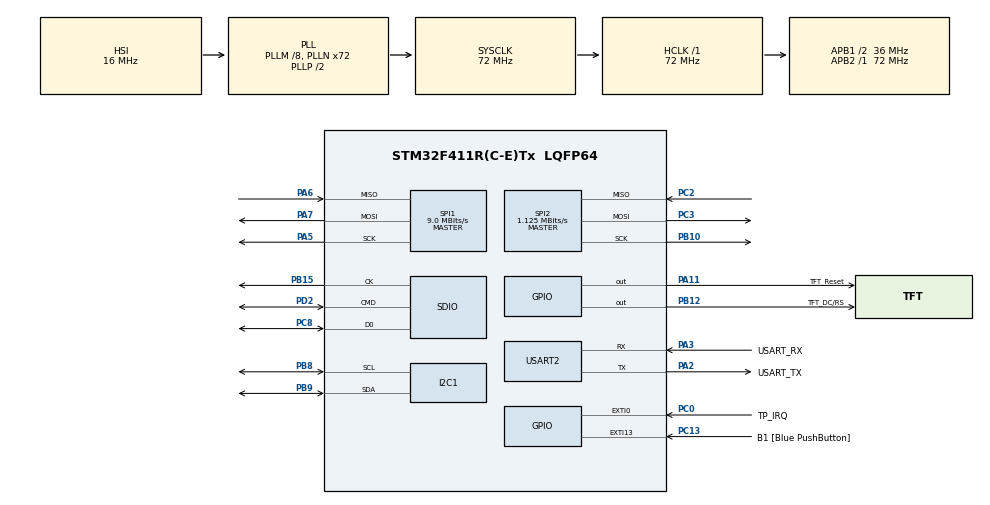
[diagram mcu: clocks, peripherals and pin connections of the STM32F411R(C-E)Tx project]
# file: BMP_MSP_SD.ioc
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Dma.Request0=SDIO_RX
Dma.Request1=SDIO_TX
Dma.SDIO_RX.0.Direction=DMA_PERIPH_TO_MEMORY
Dma.SDIO_RX.0.FIFOMode=DMA_FIFOMODE_ENABLE
Dma.SDIO_RX.0.FIFOThreshold=DMA_FIFO_THRESHOLD_FULL
Dma.SDIO_RX.0.Instance=DMA2_Stream3
Dma.SDIO_RX.0.MemBurst=DMA_MBURST_INC4
Dma.SDIO_RX.0.MemDataAlignment=DMA_MDATAALIGN_WORD
Dma.SDIO_RX.0.MemInc=DMA_MINC_ENABLE
Dma.SDIO_RX.0.Mode=DMA_PFCTRL
Dma.SDIO_RX.0.PeriphBurst=DMA_PBURST_INC4
Dma.SDIO_RX.0.PeriphDataAlignment=DMA_PDATAALIGN_WORD
Dma.SDIO_RX.0.PeriphInc=DMA_PINC_DISABLE
Dma.SDIO_RX.0.Priority=DMA_PRIORITY_HIGH
Dma.SDIO_TX.1.Direction=DMA_MEMORY_TO_PERIPH
Dma.SDIO_TX.1.FIFOMode=DMA_FIFOMODE_ENABLE
Dma.SDIO_TX.1.FIFOThreshold=DMA_FIFO_THRESHOLD_FULL
Dma.SDIO_TX.1.Instance=DMA2_Stream6
Dma.SDIO_TX.1.MemBurst=DMA_MBURST_INC4
Dma.SDIO_TX.1.MemDataAlignment=DMA_MDATAALIGN_WORD
Dma.SDIO_TX.1.MemInc=DMA_MINC_ENABLE
Dma.SDIO_TX.1.Mode=DMA_PFCTRL
Dma.SDIO_TX.1.PeriphBurst=DMA_PBURST_INC4
Dma.SDIO_TX.1.PeriphDataAlignment=DMA_PDATAALIGN_WORD
Dma.SDIO_TX.1.PeriphInc=DMA_PINC_DISABLE
Dma.SDIO_TX.1.Priority=DMA_PRIORITY_HIGH
FATFS.USE_DMA_CODE_SD=1
Mcu.Family=STM32F4
Mcu.Name=STM32F411R(C-E)Tx
Mcu.Package=LQFP64
NVIC.DMA2_Stream3_IRQn=true\:0\:0\:false\:false\:true\:false\:true\:true
NVIC.DMA2_Stream6_IRQn=true\:0\:0\:false\:false\:true\:false\:true\:true
NVIC.EXTI0_IRQn=true\:0\:0\:false\:true\:true\:1\:true\:true\:true
NVIC.PriorityGroup=NVIC_PRIORITYGROUP_0
NVIC.SDIO_IRQn=true\:0\:0\:false\:false\:true\:true\:true\:true
PA11.GPIO_Label=TFT_Reset
PA11.Signal=GPIO_Output
PA13.GPIO_Label=TMS
PA13.Mode=Serial_Wire
PA13.Signal=SYS_JTMS-SWDIO
PA14.GPIO_Label=TCK
PA14.Mode=Serial_Wire
PA14.Signal=SYS_JTCK-SWCLK
PA2.GPIO_Label=USART_TX
PA2.Mode=Asynchronous
PA2.Signal=USART2_TX
PA3.GPIO_Label=USART_RX
PA3.Mode=Asynchronous
PA3.Signal=USART2_RX
PA5.Mode=Full_Duplex_Master
PA5.Signal=SPI1_SCK
PA6.Mode=Full_Duplex_Master
PA6.Signal=SPI1_MISO
PA7.Mode=Full_Duplex_Master
PA7.Signal=SPI1_MOSI
PB10.Mode=Full_Duplex_Master
PB10.Signal=SPI2_SCK
PB12.GPIO_Label=TFT_DC/RS
PB12.Signal=GPIO_Output
PB15.Mode=SD_1_bit
PB15.Signal=SDIO_CK
PB3.GPIO_Label=SWO
PB3.Signal=SYS_JTDO-SWO
PB8.Mode=I2C
PB8.Signal=I2C1_SCL
PB9.Mode=I2C
PB9.Signal=I2C1_SDA
PC0.GPIO_Label=TP_IRQ
PC0.GPIO_ModeDefaultEXTI=GPIO_MODE_IT_FALLING
PC0.Signal=GPXTI0
PC13-ANTI_TAMP.GPIO_Label=B1 [Blue PushButton]
PC13-ANTI_TAMP.GPIO_ModeDefaultEXTI=GPIO_MODE_IT_FALLING
PC13-ANTI_TAMP.Signal=GPXTI13
PC14-OSC32_IN.Mode=LSE-External-Oscillator
PC14-OSC32_IN.Signal=RCC_OSC32_IN
PC15-OSC32_OUT.Mode=LSE-External-Oscillator
PC15-OSC32_OUT.Signal=RCC_OSC32_OUT
PC2.Mode=Full_Duplex_Master
PC2.Signal=SPI2_MISO
PC3.Mode=Full_Duplex_Master
PC3.Signal=SPI2_MOSI
PC8.Mode=SD_1_bit
PC8.Signal=SDIO_D0
PD2.Mode=SD_1_bit
PD2.Signal=SDIO_CMD
PH0\ -\ OSC_IN.Mode=HSE-External-Clock-Source
PH0\ -\ OSC_IN.Signal=RCC_OSC_IN
PH1\ -\ OSC_OUT.Mode=HSE-External-Clock-Source
PH1\ -\ OSC_OUT.Signal=RCC_OSC_OUT
ProjectManager.HeapSize=0x200
ProjectManager.StackSize=0x400
ProjectManager.TargetToolchain=STM32CubeIDE
RCC.48MHZClocksFreq_Value=48000000
RCC.AHBFreq_Value=72000000
RCC.APB1CLKDivider=RCC_HCLK_DIV2
RCC.APB1Freq_Value=36000000
RCC.APB1TimFreq_Value=72000000
RCC.APB2Freq_Value=72000000
RCC.APB2TimFreq_Value=72000000
RCC.CortexFreq_Value=72000000
RCC.FLatency-AdvancedSettings=FLASH_LATENCY_2
RCC.HCLKFreq_Value=72000000
RCC.HSE_VALUE=8000000
RCC.HSI_VALUE=16000000
RCC.PLLM=8
RCC.PLLN=72
RCC.PLLQ=3
RCC.SYSCLKFreq_VALUE=72000000
RCC.SYSCLKSource=RCC_SYSCLKSOURCE_PLLCLK
RCC.VCOOutputFreq_Value=144000000
SDIO.ClockDiv=6
SDIO.ClockPowerSave=SDIO_CLOCK_POWER_SAVE_DISABLE
SPI1.BaudRatePrescaler=SPI_BAUDRATEPRESCALER_8
SPI1.CalculateBaudRate=9.0 MBits/s
SPI1.Direction=SPI_DIRECTION_2LINES
SPI1.Mode=SPI_MODE_MASTER
SPI1.VirtualType=VM_MASTER
SPI2.BaudRatePrescaler=SPI_BAUDRATEPRESCALER_32
SPI2.CalculateBaudRate=1.125 MBits/s
SPI2.Direction=SPI_DIRECTION_2LINES
SPI2.Mode=SPI_MODE_MASTER
SPI2.VirtualType=VM_MASTER
USART2.VirtualMode=VM_ASYNC
VP_FATFS_VS_SDIO.Mode=SDIO
board=NUCLEO-F411RE

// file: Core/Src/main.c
/* USER CODE BEGIN Header */
/**
 ******************************************************************************
 * @file           : main.c
 * @brief          : Main program body
 ******************************************************************************
 * @attention
 *
 * Copyright (c) 2022 STMicroelectronics.
 * All rights reserved.
 *
 * This software is licensed under terms that can be found in the LICENSE file
 * in the root directory of this software component.
 * If no LICENSE file comes with this software, it is provided AS-IS.
 *
 ******************************************************************************
 */
/* USER CODE END Header */
#include "main.h"
#include "dma.h"
#include "fatfs.h"
#include "i2c.h"
#include "sdio.h"
#include "spi.h"
#include "usart.h"
#include "gpio.h"

/* USER CODE BEGIN Includes */
//#include "BMP280.h"
#include "My_library/BMP280.h"
#include "My_library/ILI9341.h"
#include "My_library/GFX.h"
#include "My_library/XPT2046.h"
#include "My_library/font_8x5.h"
#include "string.h"
#include "stdio.h"
#include "math.h"
/* USER CODE END Includes */

/* USER CODE BEGIN PV */

float T, P;

int pomiary_T[11] = { [ 0 ... 10 ] = -1 }, pomiary_P[11] = { [ 0 ... 10 ] = -1 }; //Data converted to pixels
float RAW_T[11] = { [ 0 ... 10 ] = -1 }, RAW_P[11] = { [ 0 ... 10 ] = -1 }; //Data from sensor

uint32_t Timer_BMP;

uint8_t licznik = 0;
uint8_t choice = 1; // 0 - temp is measured, 1 - pressure is measured
uint8_t save = 1; // to prevent bug after saving
uint16_t X, Y; //tp touch coordinates

	/*SD card */
FRESULT Result;
FATFS SD_FATFS;
FIL SD_Card_File;
uint8_t Size;
char data[60]; //buffor UART
	/*SD card */

	/* Buttons coordinates*/
int T_x = 300;
int T_y = 55;

int P_x = 300;
int P_y = 115;

int S_x = 300;
int S_y = 175;
	/* Buttons coordinates*/
/* USER CODE END PV */

void SystemClock_Config(void);
static void MX_NVIC_Init(void);
/* USER CODE BEGIN PFP */

void Measurements(void);
void Draw_Axes(void);
void Draw_Buttons(void);
void Save_to_SD(void);

/* USER CODE END PFP */

int main(void)
{

  /* MCU Configuration--------------------------------------------------------*/

  /* Reset of all peripherals, Initializes the Flash interface and the Systick. */
  HAL_Init();

  /* Configure the system clock */
  SystemClock_Config();

  /* Initialize all configured peripherals */
  MX_GPIO_Init();
  MX_USART2_UART_Init();
  MX_I2C1_Init();
  MX_DMA_Init();
  MX_SPI2_Init();
  MX_SDIO_SD_Init();
  MX_FATFS_Init();
  MX_SPI1_Init();

  /* Initialize interrupts */
  MX_NVIC_Init();
  /* USER CODE BEGIN 2 */

	BMP280_Init(&hi2c1);

	TFT_ILI9341_Init(&hspi1);

	XPT2046_Init(&hspi2, EXTI0_IRQn);

	GFX_SetFont(font_8x5);

	TFT_Clear_Screen(ILI9341_BLACK);

	Draw_Buttons();

	Draw_Axes(); //draw Coordinate system 0 - T, 1 - P

	Timer_BMP = HAL_GetTick();
  /* USER CODE END 2 */

  /* Infinite loop */
  /* USER CODE BEGIN WHILE */
	while(1)
	{
		TP_Task();
		if((HAL_GetTick() - Timer_BMP) > 1000)
		{
			Timer_BMP = HAL_GetTick();
			Measurements();
		}

		if(TP_Is_Touched())
		{
			TP_Get_Point(&X, &Y);
			if((choice == 1) && ( ( (X > T_x-5) && (X < T_x + 20) ) && ( (Y > T_y-10) && (Y < T_y + 30) ) ) ) //Change axes from P to T
			{
				choice = 0;
				licznik = 0;
				save = 1;
				for(uint8_t i = 0; i < 11; i++)
				{
					pomiary_P[i] = -1;
					RAW_P[i] = -1;
				}
				TFT_Clear_Screen(ILI9341_BLACK);
				Draw_Buttons();
				Draw_Axes(); //draw Coordinate system 0 - T, 1 - P
			}
			else if((choice == 0) && (((X > P_x-5) && (X < P_x+ 20 )) && ((Y > P_y -10) && (Y < P_y + 30 )))) //Change axes from T to P
			{
				choice = 1;
				licznik = 0;
				save = 1;
				for(uint8_t i = 0; i < 11; i++)
				{
					pomiary_T[i] = -1;
					RAW_T[0] = -1;
				}
				TFT_Clear_Screen(ILI9341_BLACK);
				Draw_Buttons();
				Draw_Axes(); //draw Coordinate system 0 - T, 1 - P
			}
			else if((save == 1) && ( ((X > S_x-5) && (X < S_x+ 20 )) && ((Y > S_y -10) && (Y < S_y + 30 )) ) ) //Save to file
			{
				save = 0;
				Save_to_SD();
			}
		}
    /* USER CODE END WHILE */

	}
}

void SystemClock_Config(void)
{
  RCC_OscInitTypeDef RCC_OscInitStruct = {0};
  RCC_ClkInitTypeDef RCC_ClkInitStruct = {0};

  /** Configure the main internal regulator output voltage
  */
  __HAL_RCC_PWR_CLK_ENABLE();
  __HAL_PWR_VOLTAGESCALING_CONFIG(PWR_REGULATOR_VOLTAGE_SCALE1);

  /** Initializes the RCC Oscillators according to the specified parameters
  * in the RCC_OscInitTypeDef structure.
  */
  RCC_OscInitStruct.OscillatorType = RCC_OSCILLATORTYPE_HSI;
  RCC_OscInitStruct.HSIState = RCC_HSI_ON;
  RCC_OscInitStruct.HSICalibrationValue = RCC_HSICALIBRATION_DEFAULT;
  RCC_OscInitStruct.PLL.PLLState = RCC_PLL_ON;
  RCC_OscInitStruct.PLL.PLLSource = RCC_PLLSOURCE_HSI;
  RCC_OscInitStruct.PLL.PLLM = 8;
  RCC_OscInitStruct.PLL.PLLN = 72;
  RCC_OscInitStruct.PLL.PLLP = RCC_PLLP_DIV2;
  RCC_OscInitStruct.PLL.PLLQ = 3;
  if (HAL_RCC_OscConfig(&RCC_OscInitStruct) != HAL_OK)
  {
    Error_Handler();
  }

  /** Initializes the CPU, AHB and APB buses clocks
  */
  RCC_ClkInitStruct.ClockType = RCC_CLOCKTYPE_HCLK|RCC_CLOCKTYPE_SYSCLK
                              |RCC_CLOCKTYPE_PCLK1|RCC_CLOCKTYPE_PCLK2;
  RCC_ClkInitStruct.SYSCLKSource = RCC_SYSCLKSOURCE_PLLCLK;
  RCC_ClkInitStruct.AHBCLKDivider = RCC_SYSCLK_DIV1;
  RCC_ClkInitStruct.APB1CLKDivider = RCC_HCLK_DIV2;
  RCC_ClkInitStruct.APB2CLKDivider = RCC_HCLK_DIV1;

  if (HAL_RCC_ClockConfig(&RCC_ClkInitStruct, FLASH_LATENCY_2) != HAL_OK)
  {
    Error_Handler();
  }
}

/**
  * @brief NVIC Configuration.
  * @retval None
  */
static void MX_NVIC_Init(void)
{
  /* EXTI0_IRQn interrupt configuration */
  HAL_NVIC_SetPriority(EXTI0_IRQn, 0, 0);
  HAL_NVIC_EnableIRQ(EXTI0_IRQn);
}

/* USER CODE BEGIN 4 */

void HAL_GPIO_EXTI_Callback(uint16_t GPIO_Pin) //obsluga przerwania
{
	if(GPIO_Pin == TP_IRQ_Pin)
	{
		TP_IRQ();
	}
}

		/* Interface functions START */

static void Move_to_Left_RAW(float RAW[]) // e.g. value from RAW[2] goes to RAW[1] etc.
{
	for(uint8_t i = 1; i < 11; i++)
	{
		RAW[i - 1] = RAW[i];
	}
}

static void Move_to_Left(int pomiary[]) // e.g. value from pomiary[2] goes to RAW[1] etc.
{
	for(uint8_t i = 1; i < 11; i++) //clear whole chart from display
	{
		int x_wid = 22; // 23
		int img_x = 50;  // beginning of the coordinate system 46
		GFX_DrawLine(img_x + (i - 1) * x_wid, pomiary[i - 1], img_x + i * x_wid, pomiary[i], ILI9341_BLACK);
		GFX_DrawCircle(img_x + (i - 1) * x_wid, pomiary[i - 1], 3, ILI9341_BLACK);
		GFX_DrawCircle(img_x + i * x_wid, pomiary[i], 3, ILI9341_BLACK);
	}
	GFX_DrawFastVLine(50, 10, 220, ILI9341_BLUE);
	GFX_DrawFastHLine(50, 230, 220, ILI9341_BLUE);
	for(uint8_t i = 1; i < 11; i++)
	{
		pomiary[i - 1] = pomiary[i];
	}
}

static int Measurement_to_Pixel(float Measurement) //Converts measurement to corresponding number of pixels
{
	float Temp;

	switch(choice)
	{
	case 0:
		Temp = -5.5 * Measurement + 230; // Convert Temp value to pixels
		break;
	case 1:
		Temp = -4.4 * Measurement + 4498; // Convert Pressure value to pixels
	}

	if(Temp > 230) //value went below 0 deg
	{
		Temp = 230;
	}
	else if(Temp < 10) //value exceeded 40 deg
	{
		Temp = 10;
	}
	return (int) roundf(Temp); //return rounded value as int
}

static void Draw_Chart(int pomiary[]) //Draws whole plot
{
	for(uint8_t i = 1; i < 11; i++)
	{
		if(pomiary[i] != -1) //used at the beginning, -1 means that its not measurement
		{
			int x_wid = 22; // 23
			int img_x = 50;  // beginning of the coordinate system 46
			GFX_DrawLine(img_x + (i - 1) * x_wid, pomiary[i - 1], img_x + i * x_wid, pomiary[i], ILI9341_RED);
			GFX_DrawCircle(img_x + (i - 1) * x_wid, pomiary[i - 1], 3, ILI9341_WHITE);
			GFX_DrawCircle(img_x + i * x_wid, pomiary[i], 3, ILI9341_WHITE);
		}
		else
		{
			break;
		}
	}
}

void Save_to_SD(void) //Saves measurements to text files
{
	Result = f_mount(&SD_FATFS, "", 1);

	if(Result != FR_OK)
	{
		Size = sprintf(data, "Mount error \n\r");
		HAL_UART_Transmit(&huart2, (uint8_t*) data, Size, 1000);
	}
	else
	{
		Size = sprintf(data, "Mount correct  \n\r");
		HAL_UART_Transmit(&huart2, (uint8_t*) data, Size, 1000);

		if(choice == 0)
		{
			Result = f_open(&SD_Card_File, "pomiar_T.txt", FA_WRITE | FA_CREATE_ALWAYS);
		}
		else
		{
			Result = f_open(&SD_Card_File, "pomiar_P.txt", FA_WRITE | FA_CREATE_ALWAYS);
		}

		if(Result != FR_OK)
		{
			Size = sprintf(data, "File open error \n\r");
			HAL_UART_Transmit(&huart2, (uint8_t*) data, Size, 1000);
		}
		else
		{
			Size = sprintf(data, "File opened \n\r");
			HAL_UART_Transmit(&huart2, (uint8_t*) data, Size, 1000);

			if(choice == 0)
			{
				char str[10];
				for(uint8_t i = 0; i < 11; i++)
				{
					sprintf(str, "%.2f", RAW_T[i]);
					f_printf(&SD_Card_File, " %s \n", str);

				}
			}
			else
			{
				char str[10];
				for(uint8_t i = 0; i < 11; i++)
				{
					sprintf(str, "%.2f", RAW_P[i]);
					f_printf(&SD_Card_File, " %s \n", str);
				}
			}

			Result = f_close(&SD_Card_File);
			if(Result != FR_OK)
			{
				Size = sprintf(data, "File close error \n\r");
				HAL_UART_Transmit(&huart2, (uint8_t*) data, Size, 1000);
				GFX_DrawString(S_x, S_y, "S", ILI9341_GREEN);
				GFX_DrawRectangle(S_x - 5, S_y-10, 20, 30, ILI9341_RED);
				HAL_Delay(1000);
				GFX_DrawString(S_x, S_y, "S", ILI9341_WHITE);
				GFX_DrawRectangle(S_x - 5, S_y-10, 20, 30, ILI9341_WHITE);
			}
			else
			{
				Size = sprintf(data, "File closed \n\r");
				HAL_UART_Transmit(&huart2, (uint8_t*) data, Size, 1000);
				GFX_DrawString(S_x, S_y, "S", ILI9341_GREEN);
				GFX_DrawRectangle(S_x - 5, S_y-10, 20, 30, ILI9341_GREEN);
				HAL_Delay(1000);
				GFX_DrawString(S_x, S_y, "S", ILI9341_WHITE);
				GFX_DrawRectangle(S_x - 5, S_y-10, 20, 30, ILI9341_WHITE);
			}
		}

	}
}

void Draw_Buttons(void) //Draw used buttons
{
	switch(choice)
	{
	case 0:
		GFX_DrawString(T_x, T_y, "T", ILI9341_GREEN);
		GFX_DrawRectangle(T_x - 5, T_y-10, 20, 30, ILI9341_GREEN);
		GFX_DrawString(P_x, P_y, "P", ILI9341_WHITE);
		GFX_DrawRectangle(P_x - 5, P_y-10, 20, 30, ILI9341_WHITE);
		break;
	case 1:
		GFX_DrawString(T_x, T_y, "T", ILI9341_WHITE);
		GFX_DrawRectangle(T_x - 5, T_y-10, 20, 30, ILI9341_WHITE);
		GFX_DrawString(P_x, P_y, "P", ILI9341_GREEN);
		GFX_DrawRectangle(P_x - 5, P_y-10, 20, 30, ILI9341_GREEN);
		break;
	}
	GFX_DrawString(S_x, S_y, "S", ILI9341_WHITE);
	GFX_DrawRectangle(S_x - 5, S_y-10, 20, 30, ILI9341_WHITE);
}

void Draw_Axes(void) //Draw actually used coordinate system
{
	GFX_DrawFastVLine(50, 10, 220, ILI9341_BLUE);
	GFX_DrawFastHLine(50, 230, 220, ILI9341_BLUE);
	GFX_SetFontSize(1);

	if(choice == 0) // Axes for T
	{
		uint8_t Temp_axe[6] = { 0, 8, 16, 24, 32, 40 };
		char str[2];

		for(uint8_t i = 0; i < 11; i++) // x axis
		{
			sprintf(str, "%d", i);
			GFX_DrawString(48 + 22 * i, 232, str, ILI9341_BLUE);
		}
		for(uint8_t i = 0; i < 6; i++) // y axis
		{
			sprintf(str, "%d", Temp_axe[i]);
			GFX_DrawString(35, 226 - i * 44, str, ILI9341_BLUE);
		}
	}
	else if(choice == 1) // Axes for P
	{
		uint16_t Press_axe[6] = { 970, 980, 990, 1000, 1010, 1020 };
		char str[4];

		for(uint8_t i = 0; i < 11; i++) // x axis
		{
			sprintf(str, "%d", i);
			GFX_DrawString(48 + 22 * i, 232, str, ILI9341_BLUE);
		}
		for(uint8_t i = 0; i < 6; i++) // y axis
		{
			sprintf(str, "%d", Press_axe[i]);
			GFX_DrawString(25, 226 - i * 44, str, ILI9341_BLUE);
		}
	}
	GFX_SetFontSize(2);
}

void Measurements(void) // Manage whole process of measuring, processing and drawing
{
	BMP280_ReadPressureTemp(&P, &T);
	if(licznik >= 11)
	{
		switch(choice)
		{
		case 0:
			Move_to_Left(pomiary_T);
			Move_to_Left_RAW(RAW_T);
			break;
		case 1:
			Move_to_Left(pomiary_P);
			Move_to_Left_RAW(RAW_P);
			break;
		}
		licznik = 10;
	}
	switch(choice)
	{
	case 0:
		pomiary_T[licznik] = Measurement_to_Pixel(T);
		RAW_T[licznik] = T;
		Draw_Chart(pomiary_T);
		break;
	case 1:
		pomiary_P[licznik] = Measurement_to_Pixel(P);
		RAW_P[licznik] = P;
		Draw_Chart(pomiary_P);
		break;
	}
	licznik++;
}

		/* Interface functions END */

/* USER CODE END 4 */

void Error_Handler(void)
{
	__disable_irq();
	while(1)
	{
	}
}
